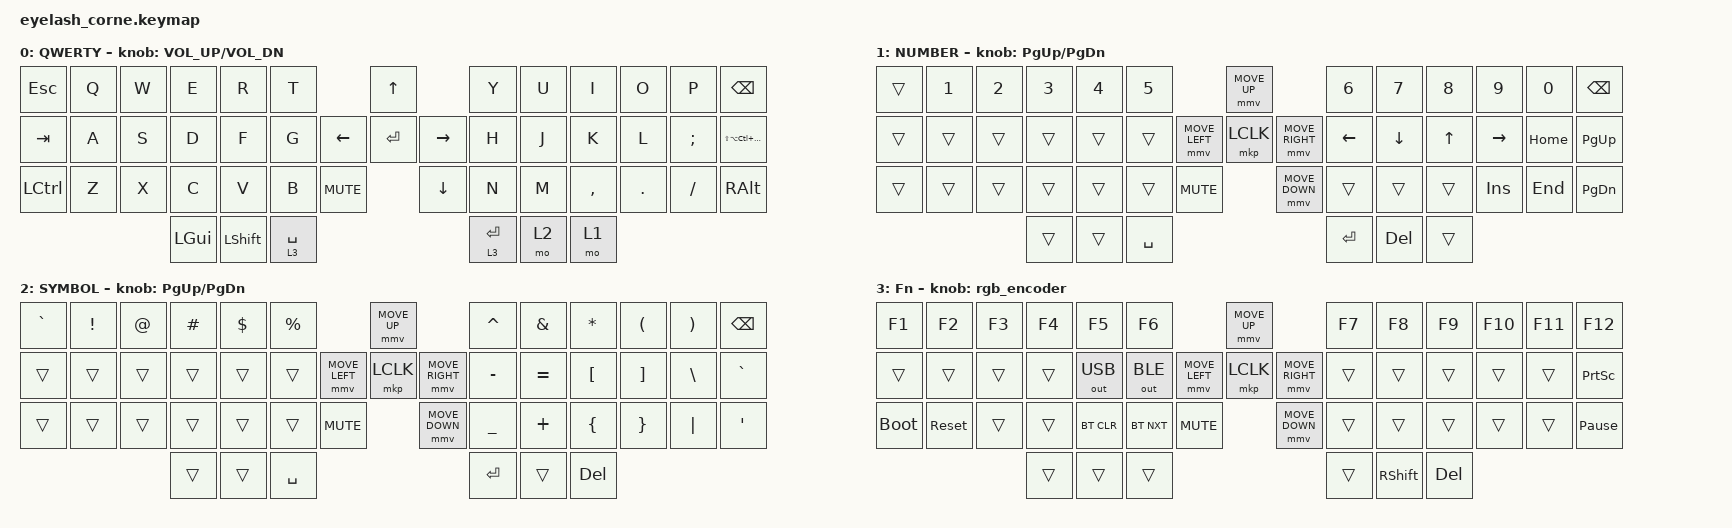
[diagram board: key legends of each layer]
#define ZMK_POINTING_DEFAULT_MOVE_VAL 1200  // 600
#define ZMK_POINTING_DEFAULT_SCRL_VAL 25   // 10

#include <input/processors.dtsi>
#include <zephyr/dt-bindings/input/input-event-codes.h>
#include <behaviors.dtsi>
#include <dt-bindings/zmk/bt.h>
#include <dt-bindings/zmk/keys.h>
#include <dt-bindings/zmk/outputs.h>
#include <dt-bindings/zmk/pointing.h>
#include <dt-bindings/zmk/rgb.h>

&mmv_input_listener { input-processors = <&zip_xy_scaler 2 1>; };

&msc_input_listener { input-processors = <&zip_scroll_scaler 2 1>; };

&soft_off { hold-time-ms = <2000>; };

/ {
    combos {
        compatible = "zmk,combos";

        softoff {
            bindings = <&soft_off>;
            key-positions = <1 15 29>;
        };
    };

    behaviors {
        rgb_encoder: rgb_encoder {
            compatible = "zmk,behavior-sensor-rotate";
            label = "RGB_ENCODER";
            #sensor-binding-cells = <0>;
            bindings = <&rgb_ug RGB_BRI>, <&rgb_ug RGB_BRD>;
        };
    };

    keymap {
        compatible = "zmk,keymap";

        default_layer {
            display-name = "QWERTY";
            bindings = <
&kp ESCAPE  &kp Q  &kp W  &kp E     &kp R           &kp T                                &kp UP                &kp Y        &kp U  &kp I      &kp O    &kp P     &kp BSPC
&kp TAB     &kp A  &kp S  &kp D     &kp F           &kp G                      &kp LEFT  &kp ENTER  &kp RIGHT  &kp H        &kp J  &kp K      &kp L    &kp SEMI  &kp LS(LA(LC(LG(RIGHT_SHIFT))))
&kp LCTRL   &kp Z  &kp X  &kp C     &kp V           &kp B        &kp C_MUTE              &kp DOWN              &kp N        &kp M  &kp COMMA  &kp DOT  &kp FSLH  &kp RIGHT_ALT
                          &kp LGUI  &kp LEFT_SHIFT  &lt 3 SPACE                                                &lt 3 ENTER  &mo 2  &mo 1
            >;

            sensor-bindings = <&inc_dec_kp C_VOLUME_UP C_VOL_DN>;
        };

        lower_layer {
            display-name = "NUMBER";
            bindings = <
&trans  &kp N1  &kp N2  &kp N3  &kp N4  &kp N5                                   &mmv MOVE_UP                     &kp N6     &kp N7      &kp N8  &kp N9     &kp N0    &kp BSPC
&trans  &trans  &trans  &trans  &trans  &trans                   &mmv MOVE_LEFT  &mkp LCLK       &mmv MOVE_RIGHT  &kp LEFT   &kp DOWN    &kp UP  &kp RIGHT  &kp HOME  &kp PG_UP
&trans  &trans  &trans  &trans  &trans  &trans     &kp C_MUTE                    &mmv MOVE_DOWN                   &trans     &trans      &trans  &kp INS    &kp END   &kp PG_DN
                        &trans  &trans  &kp SPACE                                                                 &kp ENTER  &kp DELETE  &trans
            >;

            sensor-bindings = <&inc_dec_kp PG_UP PG_DN>;
        };

        raise_layer {
            display-name = "SYMBOL";
            bindings = <
&kp GRAVE  &kp EXCL  &kp AT  &kp HASH  &kp DLLR  &kp PRCNT                                &mmv MOVE_UP                     &kp CARET  &kp AMPS   &kp ASTRK  &kp LPAR  &kp RPAR  &kp BSPC
&trans     &trans    &trans  &trans    &trans    &trans                   &mmv MOVE_LEFT  &mkp LCLK       &mmv MOVE_RIGHT  &kp MINUS  &kp EQUAL  &kp LBKT   &kp RBKT  &kp BSLH  &kp GRAVE
&trans     &trans    &trans  &trans    &trans    &trans     &kp C_MUTE                    &mmv MOVE_DOWN                   &kp UNDER  &kp PLUS   &kp LBRC   &kp RBRC  &kp PIPE  &kp APOS
                             &trans    &trans    &kp SPACE                                                                 &kp RET    &trans     &kp DEL
            >;

            sensor-bindings = <&inc_dec_kp PG_UP PG_DN>;
        };

        layer_3 {
            display-name = "Fn";
            bindings = <
&kp F1       &kp F2      &kp F3  &kp F4  &kp F5        &kp F6                                      &mmv MOVE_UP                     &kp F7  &kp F8           &kp F9   &kp F10  &kp F11  &kp F12
&trans       &trans      &trans  &trans  &out OUT_USB  &out OUT_BLE                &mmv MOVE_LEFT  &mkp LCLK       &mmv MOVE_RIGHT  &trans  &trans           &trans   &trans   &trans   &kp PRINTSCREEN
&bootloader  &sys_reset  &trans  &trans  &bt BT_CLR    &bt BT_NXT    &kp C_MUTE                    &mmv MOVE_DOWN                   &trans  &trans           &trans   &trans   &trans   &kp PAUSE_BREAK
                                 &trans  &trans        &trans                                                                       &trans  &kp RIGHT_SHIFT  &kp DEL
            >;

            sensor-bindings = <&rgb_encoder>;
        };
    };
};
